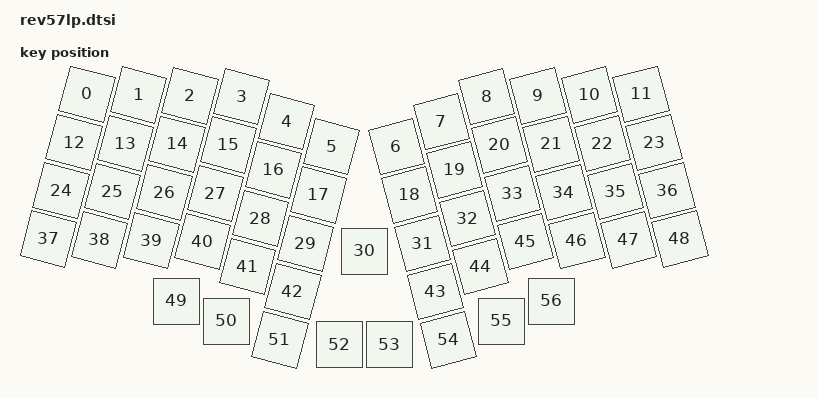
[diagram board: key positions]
#include <physical_layouts.dtsi>

&led_strip {
    chain-length = 9;
};

/ {
    default_layout: physical_layout0 {
        compatible = "zmk,physical-layout";
        display-name = "default-layout";

        kscan = <&kscan0>;
        transform = <&default_transform>;

        keys  //                     w   h    x    y     rot    rx    ry
            = <&key_physical_attrs 100 100    0   75    1500   550 (-150)>
            , <&key_physical_attrs 100 100  100   50    1500   550 (-150)>
            , <&key_physical_attrs 100 100  200   25    1500   550 (-150)>
            , <&key_physical_attrs 100 100  300    0    1500   550 (-150)>
            , <&key_physical_attrs 100 100  400   25    1500   550 (-150)>
            , <&key_physical_attrs 100 100  500   50    1500   550 (-150)>
            , <&key_physical_attrs 100 100  500   50 (-1500)   550 (-150)>
            , <&key_physical_attrs 100 100  600   25 (-1500)   550 (-150)>
            , <&key_physical_attrs 100 100  700    0 (-1500)   550 (-150)>
            , <&key_physical_attrs 100 100  800   25 (-1500)   550 (-150)>
            , <&key_physical_attrs 100 100  900   50 (-1500)   550 (-150)>
            , <&key_physical_attrs 100 100 1000   75 (-1500)   550 (-150)>
            , <&key_physical_attrs 100 100    0  175    1500   550 (-150)>
            , <&key_physical_attrs 100 100  100  150    1500   550 (-150)>
            , <&key_physical_attrs 100 100  200  125    1500   550 (-150)>
            , <&key_physical_attrs 100 100  300  100    1500   550 (-150)>
            , <&key_physical_attrs 100 100  400  125    1500   550 (-150)>
            , <&key_physical_attrs 100 100  500  150    1500   550 (-150)>
            , <&key_physical_attrs 100 100  500  150 (-1500)   550 (-150)>
            , <&key_physical_attrs 100 100  600  125 (-1500)   550 (-150)>
            , <&key_physical_attrs 100 100  700  100 (-1500)   550 (-150)>
            , <&key_physical_attrs 100 100  800  125 (-1500)   550 (-150)>
            , <&key_physical_attrs 100 100  900  150 (-1500)   550 (-150)>
            , <&key_physical_attrs 100 100 1000  175 (-1500)   550 (-150)>
            , <&key_physical_attrs 100 100    0  275    1500   550 (-150)>
            , <&key_physical_attrs 100 100  100  250    1500   550 (-150)>
            , <&key_physical_attrs 100 100  200  225    1500   550 (-150)>
            , <&key_physical_attrs 100 100  300  200    1500   550 (-150)>
            , <&key_physical_attrs 100 100  400  225    1500   550 (-150)>
            , <&key_physical_attrs 100 100  500  250    1500   550 (-150)>
            , <&key_physical_attrs 100 100  500  250       0     0     0>
            , <&key_physical_attrs 100 100  500  250 (-1500)   550 (-150)>
            , <&key_physical_attrs 100 100  600  225 (-1500)   550 (-150)>
            , <&key_physical_attrs 100 100  700  200 (-1500)   550 (-150)>
            , <&key_physical_attrs 100 100  800  225 (-1500)   550 (-150)>
            , <&key_physical_attrs 100 100  900  250 (-1500)   550 (-150)>
            , <&key_physical_attrs 100 100 1000  275 (-1500)   550 (-150)>
            , <&key_physical_attrs 100 100    0  375    1500   550 (-150)>
            , <&key_physical_attrs 100 100  100  350    1500   550 (-150)>
            , <&key_physical_attrs 100 100  200  325    1500   550 (-150)>
            , <&key_physical_attrs 100 100  300  300    1500   550 (-150)>
            , <&key_physical_attrs 100 100  400  325    1500   550 (-150)>
            , <&key_physical_attrs 100 100  500  350    1500   550 (-150)>
            , <&key_physical_attrs 100 100  500  350 (-1500)   550 (-150)>
            , <&key_physical_attrs 100 100  600  325 (-1500)   550 (-150)>
            , <&key_physical_attrs 100 100  700  300 (-1500)   550 (-150)>
            , <&key_physical_attrs 100 100  800  325 (-1500)   550 (-150)>
            , <&key_physical_attrs 100 100  900  350 (-1500)   550 (-150)>
            , <&key_physical_attrs 100 100 1000  375 (-1500)   550 (-150)>
            , <&key_physical_attrs 100 100  125  350       0     0     0>
            , <&key_physical_attrs 100 100  225  390       0     0     0>
            , <&key_physical_attrs 100 100  500  450    1500   550 (-150)>
            , <&key_physical_attrs 100 100  450  437       0     0     0>
            , <&key_physical_attrs 100 100  550  437       0     0     0>
            , <&key_physical_attrs 100 100  500  450 (-1500)   550 (-150)>
            , <&key_physical_attrs 100 100  775  390       0     0     0>
            , <&key_physical_attrs 100 100  875  350       0     0     0>
        ;
    };
};
